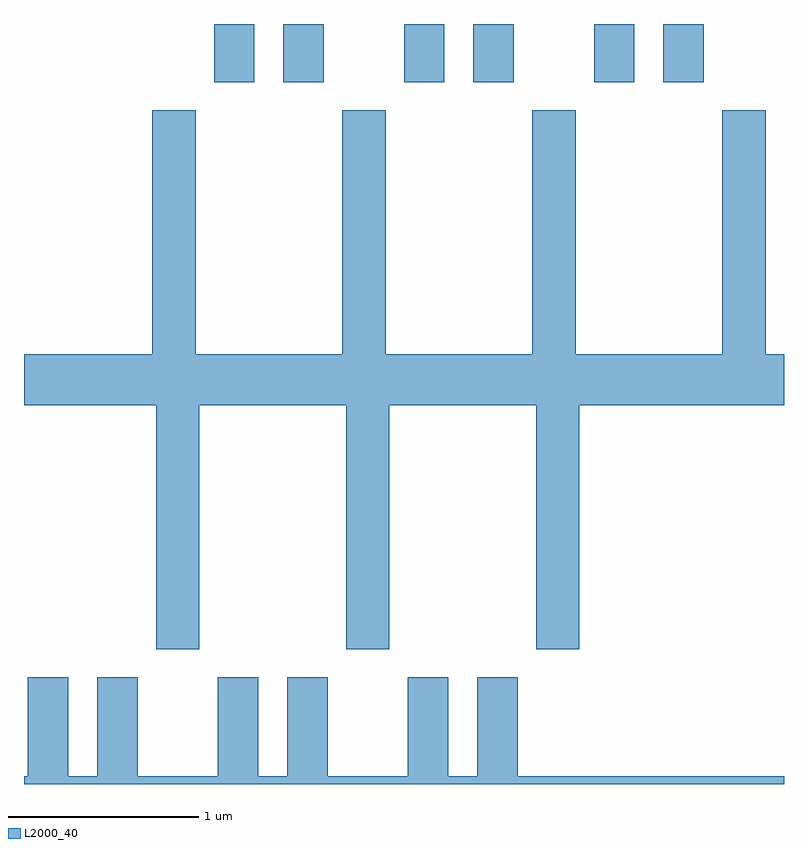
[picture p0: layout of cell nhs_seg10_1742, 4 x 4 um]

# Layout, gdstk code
import gdstk
lib = gdstk.Library(unit=1e-6, precision=1e-09)
def R(c, l, rs):  # rectangles x0, y0, x1, y1
    for r in rs: c.add(gdstk.rectangle(r[:2], r[2:], *l))
def P(c, l, *ps):  # polygons
    for p in ps: c.add(gdstk.Polygon(p, *l))
L2000_40 = (2000, 40)

nhs_seg10_1742 = lib.new_cell('nhs_seg10_1742')
R(nhs_seg10_1742, L2000_40, [(236.611,2182.216,236.824,2182.522), (236.976,2182.216,237.189,2182.522), (237.611,2182.216,237.824,2182.522), (237.976,2182.216,238.189,2182.522), (238.611,2182.216,238.824,2182.522), (238.976,2182.216,239.189,2182.522)])
P(nhs_seg10_1742, L2000_40, [(236.534,2180.516),(237.306,2180.516),(237.306,2179.231),(237.534,2179.231),(237.534,2180.516),(238.306,2180.516),(238.306,2179.231),(238.534,2179.231),(238.534,2180.516),(239.611,2180.516),(239.611,2180.784),(239.514,2180.784),(239.514,2182.069),(239.286,2182.069),(239.286,2180.784),(238.514,2180.784),(238.514,2182.069),(238.286,2182.069),(238.286,2180.784),(237.514,2180.784),(237.514,2182.069),(237.286,2182.069),(237.286,2180.784),(236.514,2180.784),(236.514,2182.069),(236.286,2182.069),(236.286,2180.784),(235.611,2180.784),(235.611,2180.516),(236.306,2180.516),(236.306,2179.231),(236.534,2179.231)],
  [(239.611,2178.564),(238.209,2178.564),(238.209,2179.084),(237.996,2179.084),(237.996,2178.564),(237.844,2178.564),(237.844,2179.084),(237.631,2179.084),(237.631,2178.564),(237.209,2178.564),(237.209,2179.084),(236.996,2179.084),(236.996,2178.564),(236.844,2178.564),(236.844,2179.084),(236.631,2179.084),(236.631,2178.564),(236.209,2178.564),(236.209,2179.084),(235.996,2179.084),(235.996,2178.564),(235.844,2178.564),(235.844,2179.084),(235.631,2179.084),(235.631,2178.564),(235.611,2178.564),(235.611,2178.522),(239.611,2178.522)])

lib.write_gds('nhs_seg10_1742.gds')
